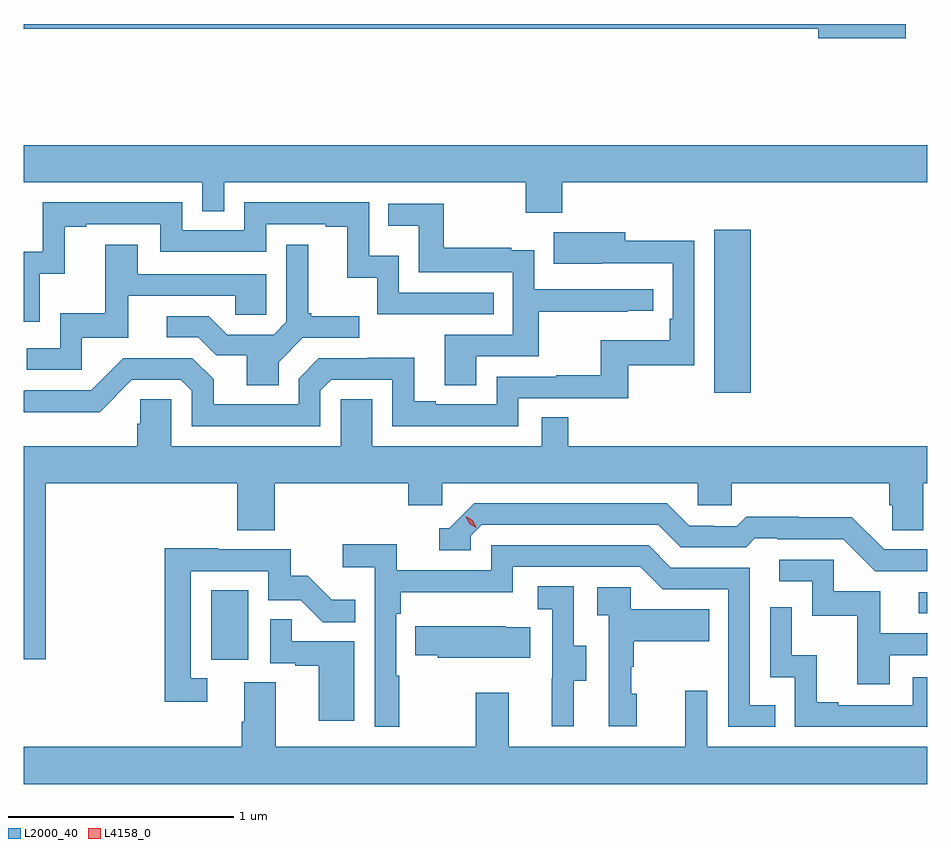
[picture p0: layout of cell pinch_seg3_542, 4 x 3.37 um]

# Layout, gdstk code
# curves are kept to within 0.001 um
import gdstk
lib = gdstk.Library(unit=1e-6, precision=1e-09)
def R(c, l, rs):  # rectangles x0, y0, x1, y1
    for r in rs: c.add(gdstk.rectangle(r[:2], r[2:], *l))
def P(c, l, *ps):  # polygons
    for p in ps: c.add(gdstk.Polygon(p, *l))
L2000_40 = (2000, 40)
L4158_0 = (4158, 0)

pinch_seg3_542 = lib.new_cell('pinch_seg3_542')
R(pinch_seg3_542, L2000_40, [(1090.394,694.806,1090.558,695.113), (1093.527,695.013,1093.565,695.106), (1092.623,695.988,1092.784,696.709)])
P(pinch_seg3_542, L2000_40, [(1093.471,697.621),(1089.565,697.621),(1089.565,697.6),(1093.082,697.6),(1093.082,697.558),(1093.471,697.558)],
  [(1091.948,696.92),(1093.565,696.92),(1093.565,697.084),(1089.565,697.084),(1089.565,696.92),(1090.356,696.92),(1090.356,696.793),(1090.452,696.793),(1090.452,696.92),(1091.788,696.92),(1091.788,696.785),(1091.948,696.785)],
  [(1089.636,696.515),(1089.746,696.515),(1089.746,696.723),(1089.841,696.723),(1089.841,696.735),(1090.17,696.735),(1090.17,696.612),(1090.638,696.612),(1090.638,696.735),(1090.901,696.735),(1090.901,696.723),(1090.997,696.723),(1090.997,696.497),(1091.13,696.497),(1091.13,696.336),(1091.645,696.336),(1091.645,696.432),(1091.226,696.432),(1091.226,696.595),(1091.094,696.595),(1091.094,696.831),(1090.542,696.831),(1090.542,696.708),(1090.266,696.708),(1090.266,696.831),(1089.648,696.831),(1089.648,696.612),(1089.565,696.612),(1089.565,696.303),(1089.636,696.303)],
  [(1091.569,696.15),(1091.846,696.15),(1091.846,696.346),(1092.239,696.346),(1092.239,696.351),(1092.352,696.351),(1092.352,696.447),(1091.826,696.447),(1091.826,696.619),(1091.723,696.619),(1091.723,696.631),(1091.425,696.631),(1091.425,696.825),(1091.179,696.825),(1091.179,696.728),(1091.314,696.728),(1091.314,696.522),(1091.73,696.522),(1091.73,696.246),(1091.429,696.246),(1091.429,696.022),(1091.569,696.022)],
  [(1090.878,695.997),(1090.926,696.045),(1091.196,696.045),(1091.196,695.841),(1091.754,695.841),(1091.754,695.964),(1092.241,695.964),(1092.241,696.111),(1092.534,696.111),(1092.534,696.662),(1092.229,696.662),(1092.229,696.7),(1091.911,696.7),(1091.911,696.56),(1092.438,696.561),(1092.438,696.316),(1092.425,696.316),(1092.425,696.22),(1092.12,696.22),(1092.12,696.065),(1091.923,696.065),(1091.923,696.06),(1091.658,696.06),(1091.658,695.937),(1091.389,695.937),(1091.389,695.95),(1091.293,695.95),(1091.293,696.143),(1091.088,696.143),(1091.088,696.141),(1090.872,696.141),(1090.782,696.051),(1090.782,695.937),(1090.405,695.937),(1090.405,696.047),(1090.311,696.141),(1090.005,696.141),(1089.864,696),(1089.571,696),(1089.571,695.997),(1089.565,695.997),(1089.565,695.901),(1089.666,695.901),(1089.666,695.903),(1089.902,695.903),(1090.044,696.045),(1090.26,696.045),(1090.308,695.997),(1090.308,695.841),(1090.878,695.841)],
  [(1089.822,696.231),(1090.027,696.231),(1090.027,696.417),(1090.501,696.417),(1090.501,696.333),(1090.638,696.333),(1090.638,696.513),(1090.069,696.513),(1090.069,696.643),(1089.925,696.643),(1089.925,696.34),(1089.726,696.34),(1089.726,696.186),(1089.579,696.186),(1089.579,696.09),(1089.822,696.09)],
  [(1090.693,696.124),(1090.8,696.231),(1091.05,696.231),(1091.05,696.328),(1090.837,696.328),(1090.837,696.34),(1090.825,696.34),(1090.825,696.643),(1090.728,696.643),(1090.728,696.303),(1090.671,696.246),(1090.465,696.246),(1090.384,696.327),(1090.197,696.327),(1090.197,696.234),(1090.338,696.234),(1090.418,696.154),(1090.553,696.154),(1090.553,696.022),(1090.693,696.022)],
  [(1089.662,695.588),(1090.511,695.588),(1090.511,695.38),(1090.676,695.38),(1090.676,695.588),(1091.267,695.588),(1091.267,695.49),(1091.418,695.49),(1091.418,695.588),(1092.549,695.588),(1092.549,695.49),(1092.699,695.49),(1092.699,695.588),(1093.397,695.588),(1093.397,695.49),(1093.411,695.49),(1093.411,695.38),(1093.548,695.38),(1093.548,695.588),(1093.565,695.588),(1093.565,695.752),(1091.975,695.752),(1091.975,695.879),(1091.859,695.879),(1091.859,695.752),(1091.107,695.752),(1091.107,695.96),(1090.968,695.96),(1090.968,695.752),(1090.218,695.752),(1090.218,695.96),(1090.081,695.96),(1090.081,695.85),(1090.067,695.85),(1090.067,695.752),(1089.565,695.752),(1089.565,694.809),(1089.662,694.809)],
  [(1093.565,695.295),(1093.374,695.295),(1093.232,695.437),(1092.996,695.437),(1092.996,695.44),(1092.763,695.44),(1092.721,695.397),(1092.618,695.397),(1092.618,695.4),(1092.511,695.4),(1092.412,695.499),(1091.559,695.499),(1091.448,695.388),(1091.405,695.388),(1091.405,695.292),(1091.544,695.292),(1091.544,695.355),(1091.592,695.403),(1092.375,695.403),(1092.474,695.304),(1092.763,695.304),(1092.802,695.343),(1092.901,695.343),(1092.901,695.34),(1093.194,695.34),(1093.335,695.199),(1093.565,695.199)],
  [(1091.227,694.736),(1091.214,694.736),(1091.214,695.009),(1091.234,695.009),(1091.234,695.105),(1091.73,695.105),(1091.73,695.217),(1092.294,695.217),(1092.393,695.118),(1092.684,695.118),(1092.684,694.509),(1092.893,694.509),(1092.893,694.605),(1092.78,694.605),(1092.78,695.214),(1092.43,695.214),(1092.331,695.313),(1091.634,695.313),(1091.634,695.202),(1091.216,695.202),(1091.216,695.318),(1090.977,695.318),(1090.977,695.216),(1091.118,695.216),(1091.118,694.509),(1091.227,694.509)],
  [(1090.378,694.725),(1090.305,694.725),(1090.305,695.199),(1090.647,695.199),(1090.647,695.07),(1090.791,695.07),(1090.889,694.972),(1091.033,694.972),(1091.033,695.071),(1090.929,695.071),(1090.822,695.178),(1090.746,695.178),(1090.746,695.295),(1090.427,695.295),(1090.427,695.3),(1090.189,695.3),(1090.189,694.62),(1090.378,694.62)],
  [(1093.399,694.827),(1093.565,694.827),(1093.565,694.923),(1093.357,694.923),(1093.357,695.109),(1093.152,695.109),(1093.152,695.25),(1092.909,695.25),(1092.909,695.154),(1093.056,695.154),(1093.056,695.001),(1093.255,695.001),(1093.255,694.698),(1093.399,694.698)],
  [(1092.001,694.714),(1092.055,694.714),(1092.055,694.869),(1092,694.869),(1092,695.132),(1091.841,695.132),(1091.841,695.029),(1091.904,695.029),(1091.904,694.725),(1091.903,694.725),(1091.903,694.512),(1092.001,694.512)],
  [(1092.28,694.656),(1092.255,694.656),(1092.255,694.775),(1092.265,694.775),(1092.265,694.889),(1092.599,694.889),(1092.599,695.029),(1092.252,695.029),(1092.252,695.127),(1092.105,695.127),(1092.105,695.003),(1092.156,695.003),(1092.156,694.512),(1092.28,694.512)],
  [(1093.565,694.728),(1093.5,694.728),(1093.5,694.605),(1093.171,694.605),(1093.171,694.618),(1093.076,694.618),(1093.076,694.826),(1092.966,694.826),(1092.966,695.038),(1092.87,695.038),(1092.87,694.728),(1092.978,694.728),(1092.978,694.509),(1093.565,694.509)],
  [(1091.029,694.887),(1090.751,694.887),(1090.751,694.985),(1090.656,694.985),(1090.656,694.791),(1090.767,694.791),(1090.767,694.779),(1090.871,694.779),(1090.871,694.536),(1091.029,694.536)],
  [(1091.807,694.951),(1091.699,694.951),(1091.699,694.954),(1091.299,694.954),(1091.299,694.825),(1091.397,694.825),(1091.397,694.814),(1091.807,694.814)],
  [(1093.565,694.42),(1092.591,694.42),(1092.591,694.669),(1092.494,694.669),(1092.494,694.42),(1091.713,694.42),(1091.713,694.66),(1091.566,694.66),(1091.566,694.42),(1090.681,694.42),(1090.681,694.706),(1090.541,694.706),(1090.541,694.532),(1090.529,694.532),(1090.529,694.42),(1089.565,694.42),(1089.565,694.256),(1093.565,694.256)])
P(pinch_seg3_542, L4158_0, [(1091.569,695.39),(1091.538,695.409),(1091.522,695.442),(1091.522,695.442),(1091.522,695.442),(1091.553,695.423),(1091.569,695.39),(1091.569,695.39)])

lib.write_gds('pinch_seg3_542.gds')
